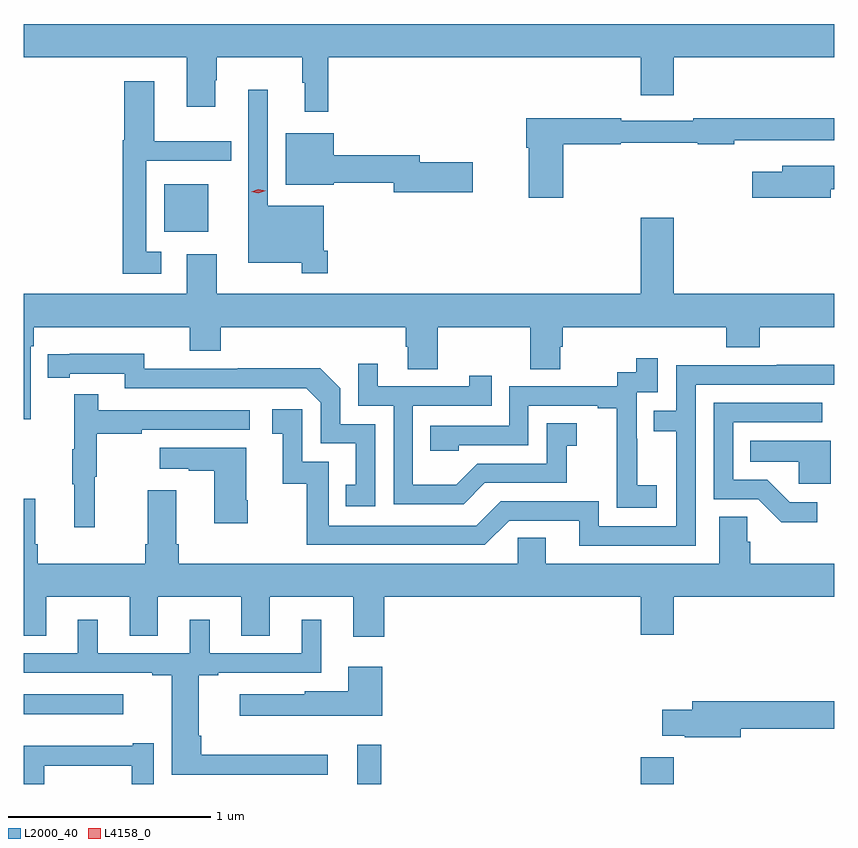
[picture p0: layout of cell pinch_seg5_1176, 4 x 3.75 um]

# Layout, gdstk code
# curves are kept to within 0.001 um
import gdstk
lib = gdstk.Library(unit=1e-6, precision=1e-09)
def R(c, l, rs):  # rectangles x0, y0, x1, y1
    for r in rs: c.add(gdstk.rectangle(r[:2], r[2:], *l))
def P(c, l, *ps):  # polygons
    for p in ps: c.add(gdstk.Polygon(p, *l))
L2000_40 = (2000, 40)
L4158_0 = (4158, 0)

pinch_seg5_1176 = lib.new_cell('pinch_seg5_1176')
R(pinch_seg5_1176, L2000_40, [(523.25,885.14,523.367,885.334), (524.648,885.14,524.812,885.271), (521.603,885.485,522.094,885.582), (522.296,887.867,522.514,888.1)])
P(pinch_seg5_1176, L2000_40, [(523.106,888.728),(524.648,888.728),(524.648,888.54),(524.812,888.54),(524.812,888.728),(525.603,888.728),(525.603,888.892),(521.603,888.892),(521.603,888.728),(522.407,888.728),(522.407,888.483),(522.547,888.483),(522.547,888.614),(522.555,888.614),(522.555,888.728),(522.978,888.728),(522.978,888.602),(522.989,888.602),(522.989,888.459),(523.106,888.459)],
  [(522.28,887.767),(522.207,887.767),(522.207,888.216),(522.626,888.216),(522.626,888.313),(522.247,888.313),(522.247,888.61),(522.098,888.61),(522.098,888.319),(522.091,888.319),(522.091,887.658),(522.28,887.658)],
  [(523.103,887.773),(523.083,887.773),(523.083,887.995),(522.807,887.995),(522.807,888.568),(522.711,888.568),(522.711,888.091),(522.71,888.091),(522.71,887.714),(522.975,887.714),(522.975,887.661),(523.103,887.661)],
  [(524.267,888.298),(524.55,888.298),(524.55,888.306),(524.93,888.306),(524.93,888.298),(525.11,888.298),(525.11,888.318),(525.603,888.318),(525.603,888.427),(524.908,888.427),(524.908,888.414),(524.552,888.414),(524.552,888.427),(524.084,888.427),(524.084,888.281),(524.096,888.281),(524.096,888.033),(524.267,888.033)],
  [(523.819,888.209),(523.558,888.209),(523.558,888.245),(523.132,888.245),(523.132,888.352),(522.896,888.352),(522.896,888.098),(523.132,888.098),(523.132,888.109),(523.43,888.109),(523.43,888.062),(523.819,888.062)],
  [(525.586,888.076),(525.603,888.076),(525.603,888.192),(525.347,888.192),(525.347,888.163),(525.198,888.163),(525.198,888.034),(525.586,888.034)],
  [(521.637,887.3),(521.651,887.3),(521.651,887.396),(522.422,887.396),(522.422,887.279),(522.575,887.279),(522.575,887.396),(523.487,887.396),(523.487,887.298),(523.499,887.298),(523.499,887.188),(523.647,887.188),(523.647,887.396),(524.104,887.396),(524.104,887.188),(524.251,887.188),(524.251,887.298),(524.264,887.298),(524.264,887.396),(525.071,887.396),(525.071,887.297),(525.236,887.297),(525.236,887.396),(525.603,887.396),(525.603,887.56),(524.812,887.56),(524.812,887.935),(524.648,887.935),(524.648,887.56),(522.556,887.56),(522.556,887.755),(522.407,887.755),(522.407,887.56),(521.603,887.56),(521.603,886.941),(521.637,886.941)],
  [(523.338,886.917),(523.164,886.917),(523.164,887.094),(523.066,887.192),(522.658,887.192),(522.658,887.19),(522.198,887.19),(522.198,887.263),(521.722,887.262),(521.722,887.146),(521.83,887.146),(521.83,887.166),(522.102,887.166),(522.102,887.094),(522.996,887.094),(523.068,887.022),(523.068,886.821),(523.241,886.821),(523.241,886.617),(523.192,886.617),(523.192,886.512),(523.338,886.512)],
  [(524.728,886.615),(524.63,886.615),(524.63,886.844),(524.628,886.844),(524.628,887.073),(524.733,887.073),(524.733,887.242),(524.625,887.242),(524.625,887.172),(524.532,887.172),(524.532,887.103),(523.998,887.103),(523.998,886.908),(523.609,886.908),(523.609,886.785),(523.749,886.785),(523.749,886.812),(524.094,886.812),(524.094,887.007),(524.435,887.007),(524.435,886.995),(524.531,886.995),(524.531,886.711),(524.53,886.711),(524.53,886.505),(524.728,886.505)],
  [(523.879,886.626),(524.283,886.626),(524.283,886.811),(524.332,886.811),(524.332,886.921),(524.184,886.921),(524.184,886.722),(523.842,886.722),(523.738,886.618),(523.524,886.618),(523.524,887.007),(523.913,887.007),(523.913,887.155),(523.802,887.155),(523.802,887.103),(523.351,887.103),(523.351,887.215),(523.254,887.215),(523.254,887.007),(523.428,887.007),(523.428,886.521),(523.774,886.521)],
  [(524.919,887.112),(525.603,887.112),(525.603,887.21),(525.319,887.21),(525.319,887.208),(524.823,887.208),(524.823,886.983),(524.713,886.983),(524.713,886.882),(524.823,886.882),(524.823,886.413),(524.442,886.413),(524.442,886.536),(523.956,886.536),(523.836,886.416),(523.107,886.416),(523.107,886.731),(522.978,886.731),(522.978,886.99),(522.828,886.99),(522.828,886.869),(522.881,886.869),(522.881,886.623),(522.999,886.623),(522.999,886.32),(523.878,886.32),(523.998,886.44),(524.345,886.44),(524.345,886.317),(524.919,886.317)],
  [(521.954,886.656),(521.962,886.656),(521.962,886.87),(522.185,886.87),(522.185,886.89),(522.718,886.89),(522.718,886.986),(521.969,886.986),(521.969,887.065),(521.852,887.065),(521.852,886.793),(521.841,886.793),(521.841,886.619),(521.852,886.619),(521.852,886.407),(521.954,886.407)],
  [(525.52,886.53),(525.385,886.53),(525.274,886.641),(525.105,886.641),(525.105,886.926),(525.544,886.926),(525.544,887.022),(525.009,887.022),(525.009,886.545),(525.228,886.545),(525.341,886.433),(525.52,886.433)],
  [(525.586,886.834),(525.19,886.834),(525.19,886.73),(525.429,886.73),(525.429,886.622),(525.586,886.622)],
  [(522.708,886.54),(522.7,886.54),(522.7,886.801),(522.273,886.801),(522.273,886.697),(522.416,886.697),(522.416,886.687),(522.542,886.687),(522.542,886.428),(522.708,886.428)],
  [(523.382,886.064),(524.648,886.064),(524.648,885.876),(524.812,885.876),(524.812,886.064),(525.603,886.064),(525.603,886.228),(525.188,886.228),(525.188,886.337),(525.174,886.337),(525.174,886.46),(525.035,886.46),(525.035,886.228),(524.179,886.228),(524.179,886.355),(524.04,886.355),(524.04,886.228),(522.368,886.228),(522.368,886.324),(522.355,886.324),(522.355,886.591),(522.215,886.591),(522.215,886.324),(522.203,886.324),(522.203,886.228),(521.672,886.228),(521.672,886.324),(521.659,886.324),(521.659,886.549),(521.603,886.549),(521.603,885.871),(521.713,885.871),(521.713,886.064),(522.125,886.064),(522.125,885.871),(522.265,885.871),(522.265,886.064),(522.677,886.064),(522.677,885.871),(522.817,885.871),(522.817,886.064),(523.229,886.064),(523.229,885.867),(523.382,885.867)],
  [(523.102,885.284),(522.479,885.284),(522.479,885.379),(522.466,885.379),(522.466,885.678),(522.562,885.678),(522.562,885.69),(523.072,885.69),(523.072,885.952),(522.974,885.952),(522.974,885.786),(522.52,885.786),(522.52,885.952),(522.422,885.952),(522.422,885.786),(521.968,885.786),(521.968,885.952),(521.87,885.952),(521.87,885.786),(521.603,885.786),(521.603,885.69),(522.236,885.69),(522.236,885.678),(522.332,885.678),(522.332,885.186),(523.102,885.186)],
  [(523.372,885.718),(523.205,885.718),(523.205,885.598),(522.99,885.598),(522.99,885.583),(522.669,885.583),(522.669,885.476),(523.372,885.476)],
  [(525.142,885.412),(525.603,885.412),(525.603,885.548),(524.903,885.548),(524.903,885.507),(524.754,885.507),(524.754,885.377),(524.866,885.377),(524.866,885.37),(525.142,885.37)],
  [(521.704,885.23),(522.135,885.23),(522.135,885.14),(522.243,885.14),(522.243,885.34),(522.14,885.34),(522.14,885.328),(521.603,885.328),(521.603,885.14),(521.704,885.14)])
P(pinch_seg5_1176, L4158_0, [(522.761,888.056),(522.725,888.065),(522.725,888.065),(522.725,888.065),(522.76,888.076),(522.797,888.068),(522.797,888.068),(522.797,888.068)])

lib.write_gds('pinch_seg5_1176.gds')
